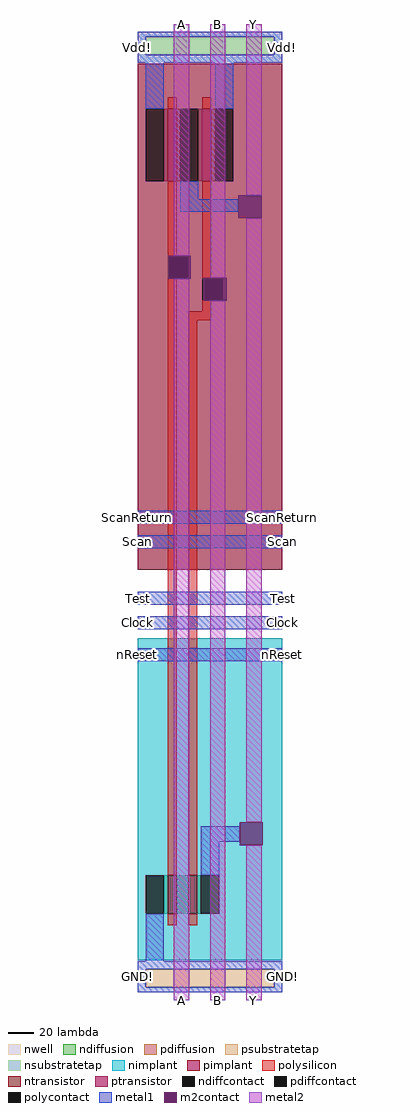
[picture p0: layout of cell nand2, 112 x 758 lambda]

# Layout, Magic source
magic
tech c35b4
<< pimplant >>
rect 0 334 112 727
<< nimplant >>
rect 0 31 112 281
<< nwell >>
rect 0 334 112 752
<< polysilicon >>
rect 23 692 30 701
rect 50 692 57 701
rect 23 577 30 636
rect 23 97 30 561
rect 50 560 57 636
rect 50 535 57 544
rect 39 528 57 535
rect 39 97 46 528
rect 23 58 30 67
rect 39 58 46 67
<< ndiffusion >>
rect 20 67 23 97
rect 30 67 39 97
rect 46 67 49 97
<< pdiffusion >>
rect 20 636 23 692
rect 30 636 33 692
rect 47 636 50 692
rect 57 636 60 692
<< ntransistor >>
rect 23 67 30 97
rect 39 67 46 97
<< ptransistor >>
rect 23 636 30 692
rect 50 636 57 692
<< polycontact >>
rect 23 561 39 577
rect 50 544 66 560
<< ndiffcontact >>
rect 6 67 20 97
rect 49 67 63 97
<< pdiffcontact >>
rect 6 636 20 692
rect 33 636 47 692
rect 60 636 74 692
<< psubstratetap >>
rect 6 10 106 24
<< nsubstratetap >>
rect 6 734 106 748
<< metal1 >>
rect 0 748 112 752
rect 0 734 6 748
rect 106 734 112 748
rect 0 728 112 734
rect 6 692 20 728
rect 60 692 74 728
rect 33 622 47 636
rect 33 612 78 622
rect 0 370 112 380
rect 0 351 112 361
rect 0 307 112 317
rect 0 288 112 298
rect 0 263 112 273
rect 49 123 79 135
rect 49 97 63 123
rect 6 30 20 67
rect 0 24 112 30
rect 0 10 6 24
rect 106 10 112 24
rect 0 6 112 10
<< m2contact >>
rect 78 607 96 625
rect 23 577 41 578
rect 23 561 39 577
rect 39 561 41 577
rect 23 560 41 561
rect 51 560 69 561
rect 51 544 66 560
rect 66 544 69 560
rect 51 543 69 544
rect 79 120 97 138
<< metal2 >>
rect 28 578 40 758
rect 56 561 68 758
rect 84 625 96 758
rect 28 0 40 560
rect 56 0 68 543
rect 84 138 96 607
rect 84 0 96 120
<< labels >>
rlabel metal2 28 0 40 0 1 A
rlabel metal2 56 0 68 0 1 B
rlabel metal1 0 6 0 30 3 GND!
rlabel metal1 0 728 0 752 3 Vdd!
rlabel metal2 28 758 40 758 5 A
rlabel metal2 56 758 68 758 5 B
rlabel metal1 0 263 0 273 3 nReset
rlabel metal1 0 288 0 298 3 Clock
rlabel metal1 0 307 0 317 3 Test
rlabel metal1 0 351 0 361 3 Scan
rlabel metal1 0 370 0 380 3 ScanReturn
rlabel metal2 84 758 96 758 5 Y
rlabel metal2 84 0 96 0 1 Y
rlabel metal1 112 6 112 30 7 GND!
rlabel metal1 112 728 112 752 7 Vdd!
rlabel metal1 112 263 112 273 7 nReset
rlabel metal1 112 288 112 298 7 Clock
rlabel metal1 112 307 112 317 7 Test
rlabel metal1 112 351 112 361 7 Scan
rlabel metal1 112 370 112 380 7 ScanReturn
<< end >>
